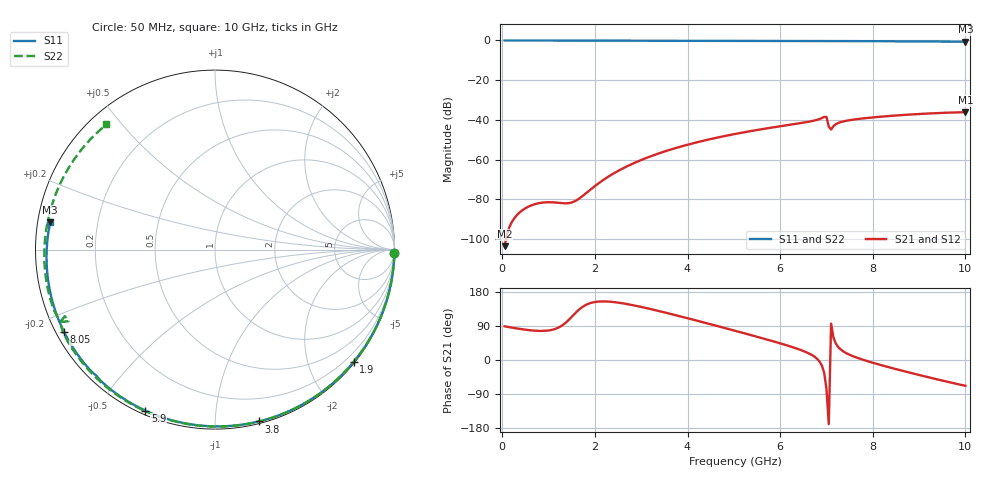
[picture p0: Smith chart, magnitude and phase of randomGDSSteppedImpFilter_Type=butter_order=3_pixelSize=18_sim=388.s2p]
! freq	dB(S11)	phase(S11)	dB(S12)	phase(S12)
!  dB(S21)	phase(S21)	dB(S22)	phase(S22)
!S-par simulation data
#  GHz  S  DB  R 50
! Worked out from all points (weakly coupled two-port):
!   200 points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, 50 MHz to 10 GHz, reference 50 ohm
!   highest |S21| = -36.14 dB at 10 GHz (marker M1); lowest = -103.7 dB at 50 MHz (marker M2)
!   lowest |S11| = -0.6 dB at 10 GHz (marker M3), VSWR 27.74, Z = 1.81 + j4.1 ohm
!   |S11| at or under -10 dB: nowhere
!   |S22| runs from -0.8 to 0.0 dB; largest |S21 - S12| = 0
!   S11 on the Smith chart (normalised r, x): 50 MHz: open; 1.9 GHz: 0.03, -2.83; 3.8 GHz: 0.02, -1.29; 5.9 GHz: 0.02, -0.66; 8.05 GHz: 0.02, -0.26; 10 GHz: 0.04, +0.08
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0.05  -0.00 -1.1  -103.65 88.9  -103.65 88.9  -0.00 -1.2
0.8  -0.02 -16.6  -81.94 76.8  -81.94 76.8  -0.02 -19.3
1.6  -0.04 -32.9  -80.57 126.6  -80.57 126.6  -0.05 -38.2
1.75  -0.05 -36.0  -78.07 141.6  -78.07 141.6  -0.05 -41.7
1.9  -0.05 -39.0  -75.22 150.1  -75.22 150.1  -0.06 -45.2
2.2  -0.06 -44.9  -69.99 154.6  -69.99 154.6  -0.07 -52.1
2.55  -0.07 -51.8  -65.12 150.6  -65.12 150.6  -0.08 -60.0
3.4  -0.09 -68.1  -56.75 128.7  -56.75 128.7  -0.10 -78.8
3.8  -0.10 -75.6  -53.83 116.6  -53.83 116.6  -0.12 -87.4
4.4  -0.12 -86.7  -50.21 97.5  -50.21 97.5  -0.14 -100.1
5.05  -0.15 -98.4  -47.01 76.4  -47.01 76.4  -0.18 -113.7
5.9  -0.20 -113.4  -43.60 47.6  -43.60 47.6  -0.23 -131.3
6.7  -0.25 -127.4  -40.56 12.1  -40.56 12.1  -0.30 -148.5
7  -0.31 -132.7  -38.52 -76.1  -38.52 -76.1  -0.77 -156.1
7.05  -0.32 -133.4  -43.34 -169.2  -43.34 -169.2  -0.83 -154.0
7.1  -0.30 -134.2  -44.87 96.0  -44.87 96.0  -0.53 -154.6
7.2  -0.30 -136.0  -42.22 43.9  -42.22 43.9  -0.39 -157.5
7.3  -0.30 -137.8  -41.18 28.5  -41.18 28.5  -0.37 -160.1
8.05  -0.37 -151.3  -38.67 -9.1  -38.67 -9.1  -0.43 -177.5
8.35  -0.41 -156.8  -38.07 -19.2  -38.07 -19.2  -0.46 175.4
9.2  -0.51 -172.9  -36.81 -45.5  -36.81 -45.5  -0.58 153.8
10  -0.63 170.6  -36.14 -68.1  -36.14 -68.1  -0.70 130.9
